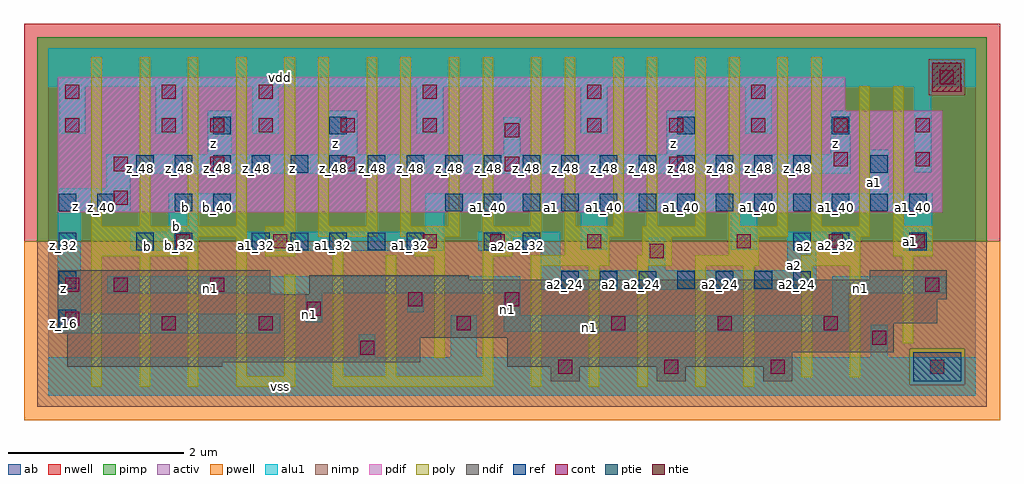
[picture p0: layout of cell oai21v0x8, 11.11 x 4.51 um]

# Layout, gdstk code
import gdstk
lib = gdstk.Library(unit=1e-6, precision=2.5e-09)
def R(c, l, rs):  # rectangles x0, y0, x1, y1
    for r in rs: c.add(gdstk.rectangle(r[:2], r[2:], *l))
def A(c, l, x, y, w, h, nx, ny, dx, dy):  # array of equal rectangles
    R(c, l, [(x+i*dx, y+j*dy, x+i*dx+w, y+j*dy+h) for i in range(nx) for j in range(ny)])
ndif = (3, 0)
pdif = (4, 0)
ntie = (5, 0)
ptie = (6, 0)
ref = (24, 0)
cont = (25, 0)
pwell = (41, 0)
nwell = (42, 0)
activ = (43, 0)
pimp = (44, 0)
nimp = (45, 0)
poly = (46, 0)
alu1 = (49, 0)
ab = (63, 0)

oai21v0x8 = lib.new_cell('oai21v0x8')
A(oai21v0x8, ndif, 5.72, 0.165, 0.33, 0.165, 3, 1, 1.21, 0)
R(oai21v0x8, ndif, [(0.22,0.33,1.98,0.385), (5.225,0.33,8.47,0.495), (0.22,0.385,4.235,0.66), (5.225,0.495,9.625,0.66), (0.22,0.66,9.625,0.715), (0.11,0.715,9.625,0.825), (0.11,0.825,10.12,1.1), (0.11,1.1,10.23,1.155), (0.11,1.155,2.53,1.43), (2.97,1.155,10.23,1.32), (2.97,1.32,4.785,1.375), (9.35,1.32,10.23,1.43)])
R(oai21v0x8, pdif, [(0.11,2.09,10.175,3.245), (0.11,3.245,9.075,3.63)])
R(oai21v0x8, ntie, [(10.065,3.465,10.395,3.795)])
R(oai21v0x8, ptie, [(9.845,0.165,10.395,0.495)])
A(oai21v0x8, ref, 0.12, 0.78, 0.2, 0.2, 1, 4, 0, 0.44)
A(oai21v0x8, ref, 5.84, 1.22, 0.2, 0.2, 7, 1, 0.44, 0)
A(oai21v0x8, ref, 2.32, 1.66, 0.2, 0.2, 5, 1, 0.44, 0)
A(oai21v0x8, ref, 4.52, 2.1, 0.2, 0.2, 13, 1, 0.44, 0)
A(oai21v0x8, ref, 1, 2.54, 0.2, 0.2, 18, 1, 0.44, 0)
R(oai21v0x8, ref, [(1,1.66,1.2,1.86), (1.44,1.66,1.64,1.86), (4.96,1.66,5.16,1.86), (5.4,1.66,5.6,1.86), (8.48,1.66,8.68,1.86), (8.92,1.66,9.12,1.86), (9.8,1.66,10,1.86), (0.56,2.1,0.76,2.3), (1.44,2.1,1.64,2.3), (1.88,2.1,2.08,2.3), (9.36,2.54,9.56,2.74), (1.88,2.98,2.08,3.18), (3.2,2.98,3.4,3.18), (7.16,2.98,7.36,3.18), (8.92,2.98,9.12,3.18)])
A(oai21v0x8, cont, 5.805, 0.25, 0.16, 0.16, 3, 1, 1.21, 0)
A(oai21v0x8, cont, 6.41, 0.745, 0.16, 0.16, 3, 1, 1.21, 0)
A(oai21v0x8, cont, 3.33, 2.56, 0.16, 0.16, 3, 1, 1.87, 0)
A(oai21v0x8, cont, 1.295, 3, 0.16, 0.16, 3, 1, 0.55, 0)
A(oai21v0x8, cont, 6.135, 3, 0.16, 0.16, 5, 1, 0.935, 0)
A(oai21v0x8, cont, 0.195, 3.385, 0.16, 0.16, 3, 1, 1.1, 0)
A(oai21v0x8, cont, 4.265, 3.385, 0.16, 0.16, 3, 1, 1.87, 0)
R(oai21v0x8, cont, [(10.04,0.25,10.2,0.41), (3.55,0.47,3.71,0.63), (9.38,0.58,9.54,0.74), (1.295,0.745,1.455,0.905), (2.395,0.745,2.555,0.905), (4.65,0.745,4.81,0.905), (0.195,0.8,0.355,0.96), (2.945,0.91,3.105,1.07), (4.1,1.02,4.26,1.18), (5.2,1.02,5.36,1.18), (0.195,1.185,0.355,1.345), (0.745,1.185,0.905,1.345), (1.845,1.185,2.005,1.345), (9.985,1.185,10.145,1.345), (6.85,1.57,7.01,1.73), (1.46,1.68,1.62,1.84), (2.56,1.68,2.72,1.84), (4.265,1.68,4.425,1.84), (5.035,1.68,5.195,1.84), (6.135,1.68,6.295,1.84), (7.84,1.68,8,1.84), (8.885,1.68,9.045,1.84), (9.82,1.68,9.98,1.84), (0.745,2.175,0.905,2.335), (0.745,2.56,0.905,2.72), (1.845,2.56,2.005,2.72), (8.94,2.615,9.1,2.775), (9.875,2.615,10.035,2.775), (5.2,2.945,5.36,3.105), (0.195,3,0.355,3.16), (3.33,3,3.49,3.16), (4.265,3,4.425,3.16), (10.15,3.55,10.31,3.71)])
R(oai21v0x8, pwell, [(-0.275,-0.275,10.835,1.76)])
R(oai21v0x8, nwell, [(-0.275,1.76,10.835,4.235)])
A(oai21v0x8, activ, 5.72, 0.165, 0.33, 0.165, 3, 1, 1.21, 0)
R(oai21v0x8, activ, [(9.845,0.165,10.395,0.495), (0.22,0.33,1.98,0.385), (5.225,0.33,8.47,0.495), (0.22,0.385,4.235,0.66), (5.225,0.495,9.625,0.66), (0.22,0.66,9.625,0.715), (0.11,0.715,9.625,0.825), (0.11,0.825,10.12,1.1), (0.11,1.1,10.23,1.155), (0.11,1.155,2.53,1.43), (2.97,1.155,10.23,1.32), (2.97,1.32,4.785,1.375), (9.35,1.32,10.23,1.43), (0.11,2.09,10.175,3.245), (0.11,3.245,9.075,3.63), (10.065,3.465,10.395,3.795)])
R(oai21v0x8, pimp, [(9.805,0.125,10.435,0.535), (-0.125,1.76,10.685,3.425), (-0.125,3.425,10.025,3.835), (10.435,3.425,10.685,3.835), (-0.125,3.835,10.685,4.085)])
R(oai21v0x8, nimp, [(-0.125,-0.125,10.685,0.125), (-0.125,0.125,9.805,0.535), (10.435,0.125,10.685,0.535), (-0.125,0.535,10.685,1.76), (10.025,3.425,10.435,3.835)])
A(oai21v0x8, poly, 0.49, 0.105, 0.12, 1.485, 3, 1, 0.55, 0)
A(oai21v0x8, poly, 3.075, 1.81, 0.67, 0.12, 4, 1, 0.935, 0)
A(oai21v0x8, poly, 0.49, 1.93, 0.12, 1.925, 5, 1, 0.55, 0)
R(oai21v0x8, poly, [(2.14,0.105,2.81,0.225), (3.24,0.105,5.065,0.225), (5.495,0.105,5.615,1.48), (6.155,0.105,6.275,1.48), (6.705,0.105,6.825,1.48), (7.365,0.105,7.485,1.48), (7.915,0.105,8.035,1.48), (8.575,0.215,8.695,1.48), (9.125,0.215,9.245,1.48), (2.14,0.225,2.26,1.81), (2.69,0.225,2.81,1.38), (3.24,0.225,3.36,1.81), (3.845,0.225,3.965,1.6), (4.945,0.225,5.065,1.59), (4.395,0.435,4.515,1.59), (9.73,0.6,9.85,1.59), (5.495,1.48,6.385,1.6), (6.705,1.48,7.1,1.6), (7.365,1.48,8.09,1.6), (8.575,1.48,9.245,1.6), (0.49,1.59,1.71,1.81), (2.47,1.59,2.81,1.93), (4.175,1.59,4.515,1.81), (4.945,1.59,5.285,1.81), (9.62,1.59,10.07,1.93), (5.88,1.6,6.385,1.81), (6.76,1.6,7.1,1.81), (7.75,1.6,8.09,1.81), (8.685,1.6,9.245,1.81), (0.49,1.81,2.26,1.93), (6.76,1.81,7.485,1.93), (7.75,1.81,8.42,1.93), (8.685,1.81,9.355,1.93), (3.075,1.93,3.195,3.855), (3.625,1.93,3.745,3.855), (4.01,1.93,4.13,3.855), (4.56,1.93,4.68,3.855), (4.945,1.93,5.065,3.855), (5.495,1.93,5.615,3.855), (5.88,1.93,6,3.855), (6.43,1.93,6.55,3.855), (6.815,1.93,6.935,3.855), (7.365,1.93,7.485,3.855), (7.75,1.93,7.87,3.855), (8.3,1.93,8.42,3.855), (8.685,1.93,8.805,3.855), (9.235,1.93,9.355,3.525), (9.62,1.93,9.74,3.525)])
A(oai21v0x8, alu1, 0.125, 2.985, 0.3, 0.535, 3, 1, 1.1, 0)
A(oai21v0x8, alu1, 4.195, 2.985, 0.3, 0.535, 3, 1, 1.87, 0)
R(oai21v0x8, alu1, [(0,0,10.56,0.44), (3.535,0.44,3.725,0.7), (4.58,0.44,4.88,0.92), (9.365,0.44,9.555,0.81), (0.11,0.715,2.64,0.935), (5.185,0.73,9.115,0.92), (2.93,0.84,3.12,1.17), (5.185,0.92,5.375,1.17), (8.925,0.92,9.115,1.17), (0.11,0.935,0.37,2.09), (4.085,0.95,4.275,1.17), (0.675,1.17,5.375,1.36), (8.925,1.17,10.215,1.36), (5.61,1.21,8.745,1.43), (5.61,1.43,5.83,1.65), (6.835,1.43,7.025,1.8), (8.415,1.43,8.745,1.65), (0.935,1.65,1.705,1.87), (2.255,1.65,4.51,1.87), (4.895,1.65,5.83,1.87), (8.415,1.65,9.185,1.87), (9.735,1.65,10.065,2.09), (6.065,1.665,6.365,2.09), (7.77,1.665,8.07,2.09), (1.375,1.87,1.705,2.09), (4.29,1.87,4.51,2.09), (0.11,2.09,0.935,2.365), (1.375,2.09,2.145,2.31), (4.29,2.09,10.065,2.31), (9.35,2.31,9.57,2.805), (0.66,2.365,0.935,2.53), (0.66,2.53,9.13,2.75), (9.86,2.545,10.05,3.52), (1.815,2.75,2.09,3.245), (3.19,2.75,3.52,3.245), (5.185,2.75,5.375,3.175), (7.04,2.75,7.37,3.245), (8.91,2.75,9.13,3.245), (0,3.52,10.56,3.96)])
R(oai21v0x8, ab, [(0,0,10.56,3.96)])
oai21v0x8.add(gdstk.Label('vss', (2.64,0.11), layer=49, texttype=0))
oai21v0x8.add(gdstk.Label('n1', (6.1675,0.7775), layer=49, texttype=0))
oai21v0x8.add(gdstk.Label('n1', (9.2475,1.2175), layer=49, texttype=0))
oai21v0x8.add(gdstk.Label('n1', (5.2325,0.9825), layer=49, texttype=0))
oai21v0x8.add(gdstk.Label('n1', (2.9775,0.9225), layer=49, texttype=0))
oai21v0x8.add(gdstk.Label('a2', (6.3925,1.265), layer=49, texttype=0))
oai21v0x8.add(gdstk.Label('n1', (1.85,1.2175), layer=49, texttype=0))
oai21v0x8.add(gdstk.Label('a2', (8.4975,1.485), layer=49, texttype=0))
oai21v0x8.add(gdstk.Label('a1', (9.8175,1.76), layer=49, texttype=0))
oai21v0x8.add(gdstk.Label('a2', (8.6075,1.705), layer=49, texttype=0))
oai21v0x8.add(gdstk.Label('a2', (5.1275,1.705), layer=49, texttype=0))
oai21v0x8.add(gdstk.Label('a1', (2.8175,1.705), layer=49, texttype=0))
oai21v0x8.add(gdstk.Label('b', (1.1275,1.705), layer=49, texttype=0))
oai21v0x8.add(gdstk.Label('b', (1.4575,1.925), layer=49, texttype=0))
oai21v0x8.add(gdstk.Label('z', (0.175,1.2225), layer=49, texttype=0))
oai21v0x8.add(gdstk.Label('a1', (5.7325,2.145), layer=49, texttype=0))
oai21v0x8.add(gdstk.Label('b', (1.5675,2.145), layer=49, texttype=0))
oai21v0x8.add(gdstk.Label('a1', (9.405,2.4325), layer=49, texttype=0))
oai21v0x8.add(gdstk.Label('z', (0.315,2.1575), layer=49, texttype=0))
oai21v0x8.add(gdstk.Label('z', (2.7775,2.585), layer=49, texttype=0))
oai21v0x8.add(gdstk.Label('z', (8.965,2.8725), layer=49, texttype=0))
oai21v0x8.add(gdstk.Label('z', (7.1225,2.8725), layer=49, texttype=0))
oai21v0x8.add(gdstk.Label('z', (3.2725,2.8725), layer=49, texttype=0))
oai21v0x8.add(gdstk.Label('z', (1.8825,2.8725), layer=49, texttype=0))
oai21v0x8.add(gdstk.Label('vdd', (2.64,3.63), layer=49, texttype=0))
oai21v0x8.add(gdstk.Label('z_48', (5.01,2.59), layer=24, texttype=0))
oai21v0x8.add(gdstk.Label('a1_40', (5.01,2.15), layer=24, texttype=0))
oai21v0x8.add(gdstk.Label('a2_32', (5.01,1.71), layer=24, texttype=0))
oai21v0x8.add(gdstk.Label('z_48', (4.57,2.59), layer=24, texttype=0))
oai21v0x8.add(gdstk.Label('a1_40', (4.57,2.15), layer=24, texttype=0))
oai21v0x8.add(gdstk.Label('z_48', (4.13,2.59), layer=24, texttype=0))
oai21v0x8.add(gdstk.Label('a1_32', (4.13,1.71), layer=24, texttype=0))
oai21v0x8.add(gdstk.Label('z_48', (3.69,2.59), layer=24, texttype=0))
oai21v0x8.add(gdstk.Label('a1_32', (3.69,1.71), layer=24, texttype=0))
oai21v0x8.add(gdstk.Label('z_56', (3.25,3.03), layer=24, texttype=0))
oai21v0x8.add(gdstk.Label('z_48', (3.25,2.59), layer=24, texttype=0))
oai21v0x8.add(gdstk.Label('a1_32', (3.25,1.71), layer=24, texttype=0))
oai21v0x8.add(gdstk.Label('z_48', (2.81,2.59), layer=24, texttype=0))
oai21v0x8.add(gdstk.Label('a1_32', (2.81,1.71), layer=24, texttype=0))
oai21v0x8.add(gdstk.Label('z_48', (2.37,2.59), layer=24, texttype=0))
oai21v0x8.add(gdstk.Label('a1_32', (2.37,1.71), layer=24, texttype=0))
oai21v0x8.add(gdstk.Label('z_40', (0.17,2.15), layer=24, texttype=0))
oai21v0x8.add(gdstk.Label('z_32', (0.17,1.71), layer=24, texttype=0))
oai21v0x8.add(gdstk.Label('z_24', (0.17,1.27), layer=24, texttype=0))
oai21v0x8.add(gdstk.Label('z_16', (0.17,0.83), layer=24, texttype=0))
oai21v0x8.add(gdstk.Label('z_56', (1.93,3.03), layer=24, texttype=0))
oai21v0x8.add(gdstk.Label('z_48', (1.93,2.59), layer=24, texttype=0))
oai21v0x8.add(gdstk.Label('b_40', (1.93,2.15), layer=24, texttype=0))
oai21v0x8.add(gdstk.Label('z_48', (1.49,2.59), layer=24, texttype=0))
oai21v0x8.add(gdstk.Label('b_40', (1.49,2.15), layer=24, texttype=0))
oai21v0x8.add(gdstk.Label('b_32', (1.49,1.71), layer=24, texttype=0))
oai21v0x8.add(gdstk.Label('z_48', (1.05,2.59), layer=24, texttype=0))
oai21v0x8.add(gdstk.Label('b_32', (1.05,1.71), layer=24, texttype=0))
oai21v0x8.add(gdstk.Label('a1_40', (9.85,2.15), layer=24, texttype=0))
oai21v0x8.add(gdstk.Label('a1_32', (9.85,1.71), layer=24, texttype=0))
oai21v0x8.add(gdstk.Label('a1_48', (9.41,2.59), layer=24, texttype=0))
oai21v0x8.add(gdstk.Label('a1_40', (9.41,2.15), layer=24, texttype=0))
oai21v0x8.add(gdstk.Label('z_56', (8.97,3.03), layer=24, texttype=0))
oai21v0x8.add(gdstk.Label('a1_40', (8.97,2.15), layer=24, texttype=0))
oai21v0x8.add(gdstk.Label('a2_32', (8.97,1.71), layer=24, texttype=0))
oai21v0x8.add(gdstk.Label('z_48', (8.53,2.59), layer=24, texttype=0))
oai21v0x8.add(gdstk.Label('a1_40', (8.53,2.15), layer=24, texttype=0))
oai21v0x8.add(gdstk.Label('a2_32', (8.53,1.71), layer=24, texttype=0))
oai21v0x8.add(gdstk.Label('a2_24', (8.53,1.27), layer=24, texttype=0))
oai21v0x8.add(gdstk.Label('z_48', (8.09,2.59), layer=24, texttype=0))
oai21v0x8.add(gdstk.Label('a1_40', (8.09,2.15), layer=24, texttype=0))
oai21v0x8.add(gdstk.Label('a2_24', (8.09,1.27), layer=24, texttype=0))
oai21v0x8.add(gdstk.Label('z_48', (7.65,2.59), layer=24, texttype=0))
oai21v0x8.add(gdstk.Label('a1_40', (7.65,2.15), layer=24, texttype=0))
oai21v0x8.add(gdstk.Label('a2_24', (7.65,1.27), layer=24, texttype=0))
oai21v0x8.add(gdstk.Label('z_56', (7.21,3.03), layer=24, texttype=0))
oai21v0x8.add(gdstk.Label('z_48', (7.21,2.59), layer=24, texttype=0))
oai21v0x8.add(gdstk.Label('a1_40', (7.21,2.15), layer=24, texttype=0))
oai21v0x8.add(gdstk.Label('a2_24', (7.21,1.27), layer=24, texttype=0))
oai21v0x8.add(gdstk.Label('z_48', (6.77,2.59), layer=24, texttype=0))
oai21v0x8.add(gdstk.Label('a1_40', (6.77,2.15), layer=24, texttype=0))
oai21v0x8.add(gdstk.Label('a2_24', (6.77,1.27), layer=24, texttype=0))
oai21v0x8.add(gdstk.Label('z_40', (0.61,2.15), layer=24, texttype=0))
oai21v0x8.add(gdstk.Label('z_48', (6.33,2.59), layer=24, texttype=0))
oai21v0x8.add(gdstk.Label('a1_40', (6.33,2.15), layer=24, texttype=0))
oai21v0x8.add(gdstk.Label('a2_24', (6.33,1.27), layer=24, texttype=0))
oai21v0x8.add(gdstk.Label('z_48', (5.89,2.59), layer=24, texttype=0))
oai21v0x8.add(gdstk.Label('a1_40', (5.89,2.15), layer=24, texttype=0))
oai21v0x8.add(gdstk.Label('a2_24', (5.89,1.27), layer=24, texttype=0))
oai21v0x8.add(gdstk.Label('z_48', (5.45,2.59), layer=24, texttype=0))
oai21v0x8.add(gdstk.Label('a1_40', (5.45,2.15), layer=24, texttype=0))
oai21v0x8.add(gdstk.Label('a2_32', (5.45,1.71), layer=24, texttype=0))

lib.write_gds('oai21v0x8.gds')
